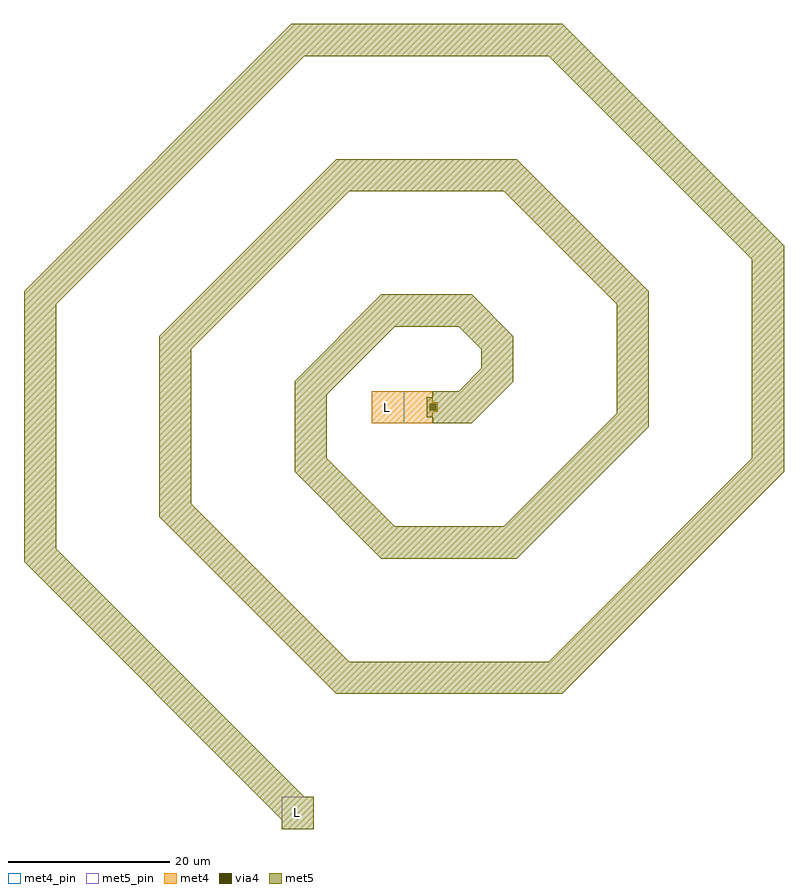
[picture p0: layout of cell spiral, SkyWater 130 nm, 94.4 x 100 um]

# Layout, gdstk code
import gdstk
lib = gdstk.Library(unit=1e-6, precision=1e-09)
def R(c, l, rs):  # rectangles x0, y0, x1, y1
    for r in rs: c.add(gdstk.rectangle(r[:2], r[2:], *l))
def P(c, l, *ps):  # polygons
    for p in ps: c.add(gdstk.Polygon(p, *l))
met4_pin = (71, 16)
met4 = (71, 20)
via4 = (71, 44)
met5_pin = (72, 16)
met5 = (72, 20)

spiral = lib.new_cell('spiral')
R(spiral, met4_pin, [(-7.6,-2,-3.6,2)])
R(spiral, met4, [(-7.6,-2,-3.6,2), (-5.6,-2,0,2), (-0.59,-0.59,0.59,0.59)])
R(spiral, via4, [(-0.4,-0.4,0.4,0.4)])
R(spiral, met5_pin, [(-18.8,-52.4,-14.8,-48.4)])
R(spiral, met5, [(-18.8,-52.4,-14.8,-48.4), (-0.8,-1.25,0.8,1.25)])
P(spiral, met5, [(-18.215,-51.815),(-50.8,-19.23),(-50.8,14.43),(-17.63,47.6),(16.03,47.6),(43.6,20.03),(43.6,-8.03),(16.03,-35.6),(-12.03,-35.6),(-34,-13.63),(-34,8.83),(-12.03,30.8),(10.43,30.8),(26.8,14.43),(26.8,-2.43),(10.43,-18.8),(-6.43,-18.8),(-17.2,-8.03),(-17.2,3.23),(-6.43,14),(4.83,14),(10,8.83),(10,3.17),(4.83,-2),(0,-2),(0,2),(3.17,2),(6,4.83),(6,7.17),(3.17,10),(-4.77,10),(-13.2,1.57),(-13.2,-6.37),(-4.77,-14.8),(8.77,-14.8),(22.8,-0.77),(22.8,12.77),(8.77,26.8),(-10.37,26.8),(-30,7.17),(-30,-11.97),(-10.37,-31.6),(14.37,-31.6),(39.6,-6.37),(39.6,18.37),(14.37,43.6),(-15.97,43.6),(-46.8,12.77),(-46.8,-17.57),(-15.385,-48.985)])
spiral.add(gdstk.Label('L', (-16.8,-50.4), layer=72, texttype=16))
spiral.add(gdstk.Label('L', (-16.8,-50.4), layer=72, texttype=5))
spiral.add(gdstk.Label('L', (-5.6,0), layer=71, texttype=16))
spiral.add(gdstk.Label('L', (-5.6,0), layer=71, texttype=5))

lib.write_gds('spiral.gds')
